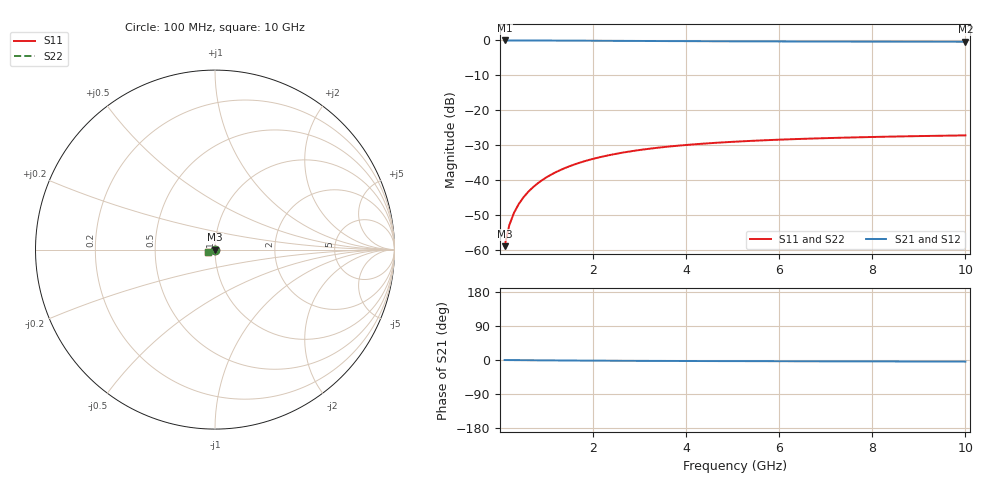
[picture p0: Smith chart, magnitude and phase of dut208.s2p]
! Touchstone file exported from HFSS 2024.1.0
!  File:  C:/UserFiles/LocalFiles/RDL_TSV_Batchsim/temp_TSV1_208_1779386528.aedt
!  Generated:  02:06:37 AM May 22, 2026
!  Design:  TSV1
!  Project:  temp_TSV1_208_1779386528
!  Setup:  Setup1
!  Solution:  Sweep
! Variables:
!  dtsv = 10.73um
!  hbump = 3um
!  htsv = 64.28um
!  lrdl = 252.1521522um
!  p = 40
!  p1 = 40.89um
!  t = 500um
!  trdl = 3um
!  wrdl = 24.89489489um
# GHz S MA R 50.000000
! Terminal data exported
! Port[1] = TSV22_T1
! Port[2] = TSV22_T2
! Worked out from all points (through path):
!   100 points, 100 MHz to 10 GHz, reference 50 ohm
!   highest |S21| = 0.00 dB at 100 MHz (marker M1); lowest = -0.4 dB at 10 GHz (marker M2)
!   lowest |S11| = -59.0 dB at 100 MHz (marker M3), VSWR 1.00, Z = 50 - j0.112 ohm
!   |S11| at or under -10 dB: start of sweep to end of sweep
!   |S22| runs from -59.0 to -27.2 dB; largest |S21 - S12| = 3e-15
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0.1  0.001119 -85.7  0.9999 -0.1  0.9999 -0.1  0.001119 -85.7
! Gamma 0 0 0 0
! Port Impedance 50 0 50 0
0.2  0.002233 -90.3  0.9998 -0.2  0.9998 -0.2  0.002233 -90.3
0.3  0.003348 -92.8  0.9996 -0.3  0.9996 -0.3  0.003348 -92.8
0.4  0.00446 -94.7  0.9994 -0.4  0.9994 -0.4  0.004459 -94.7
0.5  0.005563 -96.5  0.9991 -0.5  0.9991 -0.5  0.005563 -96.5
0.6  0.006656 -98.1  0.9988 -0.6  0.9988 -0.6  0.006656 -98.1
0.7  0.007736 -99.7  0.9984 -0.7  0.9984 -0.7  0.007736 -99.7
0.8  0.008802 -101.2  0.998 -0.8  0.998 -0.8  0.008802 -101.2
0.9  0.009851 -102.7  0.9975 -0.9  0.9975 -0.9  0.009851 -102.7
1.1  0.0119 -105.6  0.9964 -1.0  0.9964 -1.0  0.0119 -105.6
1.4  0.01481 -109.7  0.9946 -1.3  0.9946 -1.3  0.01481 -109.7
1.6  0.01664 -112.3  0.9933 -1.4  0.9933 -1.4  0.01664 -112.3
1.8  0.01837 -114.8  0.9919 -1.6  0.9919 -1.6  0.01837 -114.8
2.1  0.02079 -118.4  0.9897 -1.8  0.9897 -1.8  0.02079 -118.4
2.5  0.02369 -122.8  0.9869 -2.0  0.9869 -2.0  0.02369 -122.8
2.9  0.02623 -126.8  0.984 -2.2  0.984 -2.2  0.02623 -126.8
3.4  0.02895 -131.3  0.9807 -2.4  0.9807 -2.4  0.02895 -131.3
4.2  0.03245 -137.4  0.9759 -2.7  0.9759 -2.7  0.03245 -137.4
5.1  0.03544 -143.0  0.9714 -3.0  0.9714 -3.0  0.03544 -143.0
6.7  0.03915 -150.8  0.9654 -3.4  0.9654 -3.4  0.03915 -150.8
8.4  0.04175 -157.1  0.961 -3.8  0.961 -3.8  0.04175 -157.1
10  0.04346 -161.8  0.958 -4.2  0.958 -4.2  0.04346 -161.8
